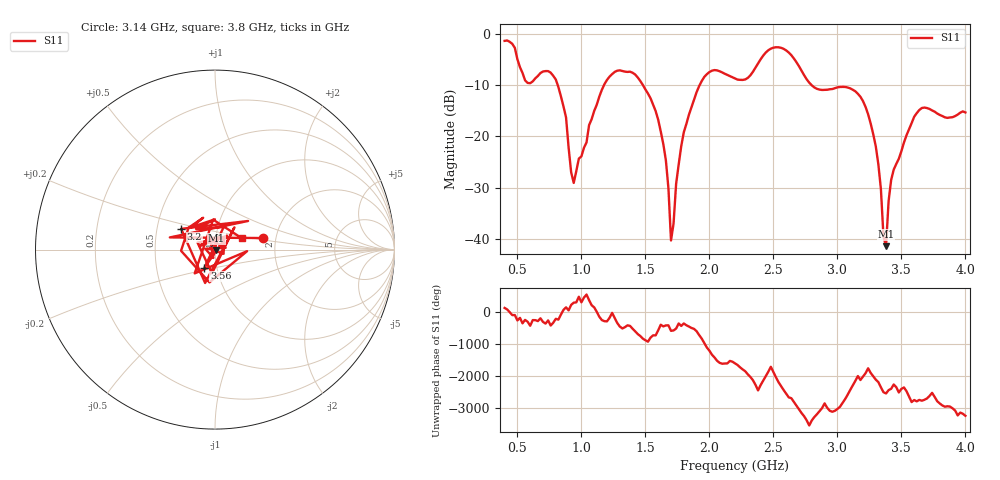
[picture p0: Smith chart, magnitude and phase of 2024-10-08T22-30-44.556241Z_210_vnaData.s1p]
! Created with skrf (http://scikit-rf.org).
# Hz S RI R 50.0
!freq ReS11 ImS11
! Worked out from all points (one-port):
!   181 points, 400 MHz to 4 GHz, reference 50 ohm
!   lowest |S11| = -41.5 dB at 3.38 GHz (marker M1), VSWR 1.02, Z = 50.8 - j0.32 ohm
!   |S11| at or under -10 dB: 815.2 MHz to 1.176 GHz (361 MHz wide, 36.3 % of centre); 1.481 GHz to 1.923 GHz (442.2 MHz wide, 26 % of centre); 2.799 GHz to end of sweep
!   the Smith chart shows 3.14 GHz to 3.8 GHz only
!   S11 on the Smith chart (normalised r, x): 3.14 GHz: 1.71, +0.24; 3.2 GHz: 0.67, +0.16; 3.56 GHz: 0.87, -0.18; 3.8 GHz: 1.34, +0.18
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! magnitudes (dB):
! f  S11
! 400 MHz  -1.3
! 580 MHz  -9.6
! 760 MHz  -7.5
! 860 MHz  -14.2
! 940 MHz  -29.1
! 1.16 GHz  -10.9
! 1.3 GHz  -7.1
! 1.58 GHz  -15.1
! 1.66 GHz  -24.7
! 1.7 GHz  -40.4
! 1.76 GHz  -25.5
! 1.96 GHz  -8.4
! 2.2 GHz  -8.7
! 2.5 GHz  -2.7
! 2.66 GHz  -4.8
! 2.84 GHz  -10.7
! 3.1 GHz  -10.6
! 3.14 GHz  -11.2
! 3.2 GHz  -13.1
! 3.3 GHz  -22.0
! 3.34 GHz  -30.3
! 3.36 GHz  -39.6
! 3.38 GHz  -41.5
! 3.42 GHz  -28.5
! 3.56 GHz  -18.6
! 3.66 GHz  -14.5
! 3.8 GHz  -15.8
! 4 GHz  -15.3
